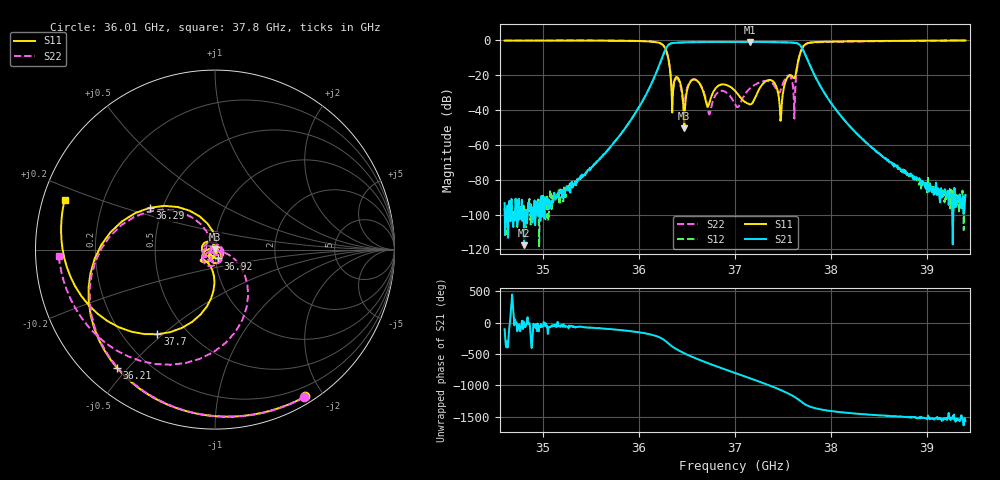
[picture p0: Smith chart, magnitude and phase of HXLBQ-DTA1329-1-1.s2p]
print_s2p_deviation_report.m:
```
function print_s2p_deviation_report(scatter_in, cfg)
%%%%%%%%%%%%%%%%%%%%%%%%%%%%%%%%%%%%%%%%%%%%%%%%%%%%%%%%%%%%%%%%%%%%%%%%%%%
% Print point-to-s2p deviation report for trajectory optimization.
% Deviation definition: delta_tau = tau_point - tau_s2p(freq_point).
%%%%%%%%%%%%%%%%%%%%%%%%%%%%%%%%%%%%%%%%%%%%%%%%%%%%%%%%%%%%%%%%%%%%%%%%%%%

if ~isfield(cfg, 'deviation_report') || ~isfield(cfg.deviation_report, 'enable') ...
        || ~cfg.deviation_report.enable
    return;
end

if ~isfield(scatter_in, 'f_probe') || ~isfield(scatter_in, 'tau') ...
        || isempty(scatter_in.f_probe) || isempty(scatter_in.tau)
    fprintf('\n[s2p deviation] no valid scatter points.\n');
    return;
end

top_n = 8;
if isfield(cfg.deviation_report, 'top_n') && ~isempty(cfg.deviation_report.top_n)
    top_n = max(1, round(cfg.deviation_report.top_n));
end

lib_dir = fileparts(mfilename('fullpath'));
root_dir = fileparts(lib_dir);
s2p_file = fullfile(root_dir, 'data', 'HXLBQ-DTA1329-1-1.s2p');
[f_s2p_hz, tau_s2p_s] = local_read_s21_group_delay_from_s2p(s2p_file);
if isempty(f_s2p_hz) || isempty(tau_s2p_s)
    warning('print_s2p_deviation_report: cannot read s2p curve: %s', s2p_file);
    return;
end

f_min = min(f_s2p_hz);
f_max = max(f_s2p_hz);
mask_cmp = isfinite(scatter_in.f_probe) & isfinite(scatter_in.tau) & ...
    scatter_in.f_probe >= f_min & scatter_in.f_probe <= f_max;

if ~any(mask_cmp)
    fprintf('\n[s2p deviation] no scatter points within s2p frequency range.\n');
    return;
end

f_cmp_hz = scatter_in.f_probe(mask_cmp);
tau_cmp_s = scatter_in.tau(mask_cmp);
tau_ref_s = interp1(f_s2p_hz, tau_s2p_s, f_cmp_hz, 'pchip');
mask_ok = isfinite(tau_ref_s);

if ~any(mask_ok)
    fprintf('\n[s2p deviation] interpolation failed on all comparable points.\n');
    return;
end

f_cmp_hz = f_cmp_hz(mask_ok);
tau_cmp_s = tau_cmp_s(mask_ok);
tau_ref_s = tau_ref_s(mask_ok);
delta_ns = (tau_cmp_s - tau_ref_s) * 1e9;

src_code = [];
if isfield(scatter_in, 'source_code') && numel(scatter_in.source_code) == numel(scatter_in.f_probe)
    src_code = scatter_in.source_code(mask_cmp);
    src_code = src_code(mask_ok);
end

fprintf('\n[s2p deviation] delta_tau = tau_point - tau_s2p\n');
fprintf('  comparable points: %d, freq range: %.3f-%.3f GHz\n', ...
    numel(delta_ns), min(f_cmp_hz) / 1e9, max(f_cmp_hz) / 1e9);
print_one_region_summary('all points', f_cmp_hz, delta_ns);

if isfield(cfg, 'regions')
    region_specs = { ...
        'left_edge', cfg.regions.left_edge; ...
        'left_shoulder', cfg.regions.left_shoulder; ...
        'flat_mid', cfg.regions.flat_mid; ...
        'right_shoulder', cfg.regions.right_shoulder; ...
        'right_edge', cfg.regions.right_edge ...
    };
    for ir = 1:size(region_specs, 1)
        region_name = region_specs{ir, 1};
        band_hz = region_specs{ir, 2};
        mask_region = f_cmp_hz >= band_hz(1) & f_cmp_hz <= band_hz(2);
        if any(mask_region)
            print_one_region_summary(region_name, f_cmp_hz(mask_region), delta_ns(mask_region));
        end
    end
elseif isfield(cfg, 'cfg_hybrid') && isfield(cfg.cfg_hybrid, 'f_flat_hi')
    mask_right = f_cmp_hz > cfg.cfg_hybrid.f_flat_hi;
    if any(mask_right)
        print_one_region_summary('right edge', f_cmp_hz(mask_right), delta_ns(mask_right));
    end
end

if ~isempty(src_code)
    print_source_summary(src_code, delta_ns);
end

[~, idx_sort] = sort(abs(delta_ns), 'descend');
n_show = min(top_n, numel(idx_sort));
fprintf('  top-%d |delta| points:\n', n_show);
fprintf('    %10s  %10s  %10s  %10s  %8s  %6s\n', ...
    'f_GHz', 'tau_pt_ns', 'tau_s2p_ns', 'delta_ns', 'sign', 'src');
for k = 1:n_show
    idx = idx_sort(k);
    if isempty(src_code)
        src_label = '-';
    else
        src_label = source_code_label(src_code(idx));
    end

    if delta_ns(idx) > 0
        sign_label = 'above';
    elseif delta_ns(idx) < 0
        sign_label = 'below';
    else
        sign_label = 'equal';
    end

    fprintf('    %10.4f  %10.4f  %10.4f  %+10.4f  %8s  %6s\n', ...
        f_cmp_hz(idx) / 1e9, tau_cmp_s(idx) * 1e9, tau_ref_s(idx) * 1e9, ...
        delta_ns(idx), sign_label, src_label);
end

end

function print_one_region_summary(region_name, f_hz, delta_ns)
n_pos = sum(delta_ns > 0);
n_neg = sum(delta_ns < 0);
n_zero = sum(delta_ns == 0);
[delta_max, idx_max] = max(delta_ns);
[delta_min, idx_min] = min(delta_ns);
abs_delta_ns = abs(delta_ns);
mae_ns = mean(abs_delta_ns);
rmse_ns = sqrt(mean(delta_ns .^ 2));
[max_abs_ns, idx_abs] = max(abs_delta_ns);
pass_010 = sum(abs_delta_ns <= 0.10) / numel(abs_delta_ns);
pass_020 = sum(abs_delta_ns <= 0.20) / numel(abs_delta_ns);

fprintf('  [%s]\n', region_name);
fprintf('    pos/neg/zero: %d / %d / %d\n', n_pos, n_neg, n_zero);
fprintf('    mean = %+0.4f ns, MAE = %.4f ns, RMSE = %.4f ns\n', ...
    mean(delta_ns), mae_ns, rmse_ns);
fprintf('    max|.| = %.4f ns @ %.4f GHz\n', max_abs_ns, f_hz(idx_abs) / 1e9);
fprintf('    |delta|<=0.10 ns: %.1f%%, |delta|<=0.20 ns: %.1f%%\n', ...
    100 * pass_010, 100 * pass_020);
fprintf('    max positive: %+0.4f ns @ %.4f GHz\n', delta_max, f_hz(idx_max) / 1e9);
fprintf('    max negative: %+0.4f ns @ %.4f GHz\n', delta_min, f_hz(idx_min) / 1e9);
end

function print_source_summary(src_code, delta_ns)
codes = unique(src_code(:)).';
fprintf('  by source:\n');
for code = codes
    mask = src_code == code;
    fprintf('    %-6s n=%-3d mean=%+0.4f ns mean|.|=%.4f ns\n', ...
        source_code_label(code), sum(mask), mean(delta_ns(mask)), mean(abs(delta_ns(mask))));
end
end

function label = source_code_label(code)
switch code
    case 1
        label = 'base';
    case 2
        label = 'adapt';
    case 3
        label = 'dense';
    otherwise
        label = sprintf('s%d', code);
end
end

function [f_hz, tau_s] = local_read_s21_group_delay_from_s2p(s2p_file)
fid = fopen(s2p_file, 'r');
if fid < 0
    f_hz = [];
    tau_s = [];
    return;
end

cleaner = onCleanup(@() fclose(fid)); %#ok<NASGU>

unit_scale = 1;
data_fmt = 'DB';
buf = [];
f_hz = [];
s21_a = [];
s21_b = [];

while ~feof(fid)
    line = strtrim(fgetl(fid));
    if ~ischar(line) || isempty(line)
        continue;
    end

    if startsWith(line, '!')
        continue;
    end

    if startsWith(line, '#')
        line_upper = upper([' ' line ' ']);
        if contains(line_upper, ' GHZ ')
            unit_scale = 1e9;
        elseif contains(line_upper, ' MHZ ')
            unit_scale = 1e6;
        elseif contains(line_upper, ' KHZ ')
            unit_scale = 1e3;
        else
            unit_scale = 1;
        end

        if contains(line_upper, ' RI ')
            data_fmt = 'RI';
        elseif contains(line_upper, ' MA ')
            data_fmt = 'MA';
        else
            data_fmt = 'DB';
        end
        continue;
    end

    nums = sscanf(line, '%f').';
    if isempty(nums)
        continue;
    end

    buf = [buf, nums]; %#ok<AGROW>
    while numel(buf) >= 9
        row = buf(1:9);
        buf = buf(10:end);
        f_hz(end + 1, 1) = row(1) * unit_scale; %#ok<AGROW>
        s21_a(end + 1, 1) = row(4); %#ok<AGROW>
        s21_b(end + 1, 1) = row(5); %#ok<AGROW>
    end
end

if isempty(f_hz)
    tau_s = [];
    return;
end

switch upper(data_fmt)
    case 'RI'
        s21 = s21_a + 1i * s21_b;
    case 'MA'
        s21 = s21_a .* exp(1i * deg2rad(s21_b));
    otherwise
        s21 = 10 .^ (s21_a / 20) .* exp(1i * deg2rad(s21_b));
end

phase_rad = unwrap(angle(s21));
tau_s = -gradient(phase_rad, f_hz) / (2 * pi);

mask_ok = isfinite(f_hz) & isfinite(tau_s);
f_hz = f_hz(mask_ok);
tau_s = tau_s(mask_ok);
end
```
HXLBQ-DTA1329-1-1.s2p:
!Keysight Technologies,N5227B,US60211109,A.19.55.13
!Date: Tuesday, March 03, 2026 18:18:06
!Correction: S11(Cdelta 2-Port  )
!S21(Cdelta 2-Port  )
!S12(Cdelta 2-Port  )
!S22(Cdelta 2-Port  )
!S2P File: Measurements: S11, S21, S12, S22:
# Hz S  dB  R 50
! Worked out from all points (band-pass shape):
!   801 points, 34.6 GHz to 39.4 GHz, reference 50 ohm
!   highest |S21| = -0.83 dB at 37.16 GHz (marker M1); lowest = -117.6 dB at 34.8 GHz (marker M2)
!   |S21| within 3 dB of the highest: 36.29 GHz to 37.69 GHz (1.403 GHz wide, 3.79 % of centre)
!   lowest |S11| = -50.5 dB at 36.47 GHz (marker M3), VSWR 1.01, Z = 50.2 + j0.238 ohm
!   |S11| at or under -10 dB: 36.3 GHz to 37.67 GHz (1.362 GHz wide, 3.68 % of centre)
!   |S22| runs from -44.9 to 0.0 dB; largest |S21 - S12| = 0.00091
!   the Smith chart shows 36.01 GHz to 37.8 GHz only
!   S11 on the Smith chart (normalised r, x): 36.01 GHz: 0.08, -1.79; 36.21 GHz: 0.09, -0.47; 36.29 GHz: 0.42, +0.24; 36.92 GHz: 1.03, -0.10; 37.7 GHz: 0.34, -0.48; 37.8 GHz: 0.06, +0.16
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3.46e10  -0.09 76.6  -93.45 -105.1  -96.25 18.0  -0.08 79.7
3.4804e10  -0.07 64.3  -117.64 -60.0  -100.18 79.0  -0.06 67.1
3.601e10  -0.35 -58.4  -37.40 -155.6  -37.40 -155.6  -0.34 -58.9
3.6208e10  -1.35 -129.7  -14.63 130.1  -14.64 130.1  -1.39 -130.0
3.6292e10  -7.28 147.4  -3.58 46.6  -3.58 46.6  -7.28 151.0
3.6472e10  -50.46 52.2  -1.08 -128.7  -1.09 -128.7  -37.43 31.9
3.6916e10  -25.70 -70.8  -0.84 -37.6  -0.84 -37.7  -30.15 -82.3
3.7e10  -28.91 -128.3  -0.84 -83.2  -0.84 -83.2  -36.54 -154.1
3.7156e10  -36.74 31.4  -0.83 -167.8  -0.83 -167.8  -27.48 6.7
3.7696e10  -4.87 -124.3  -4.14 170.3  -4.15 170.3  -4.88 -90.7
3.7804e10  -1.09 161.6  -17.15 87.1  -17.16 87.1  -1.19 -177.8
3.94e10  -0.01 -23.2  -88.67 -131.5  -88.71 -159.8  -0.05 -23.2
